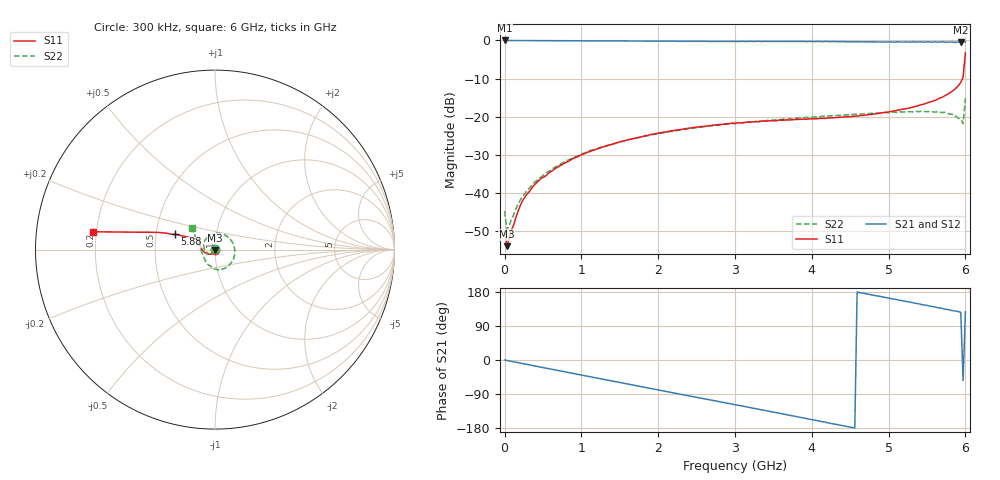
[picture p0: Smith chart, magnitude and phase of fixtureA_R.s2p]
# Hz S RI R 50
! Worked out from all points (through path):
!   201 points, 300 kHz to 6 GHz, reference 50 ohm
!   highest |S21| = 0.01 dB at 300 kHz (marker M1); lowest = -0.5 dB at 5.94 GHz (marker M2)
!   lowest |S11| = -53.9 dB at 30.3 MHz (marker M3), VSWR 1.00, Z = 50.1 - j0.14 ohm
!   |S11| at or under -10 dB: start of sweep to 5.961 GHz
!   |S22| runs from -49.6 to -15.2 dB; largest |S21 - S12| = 4.7e-16
!   S11 on the Smith chart (normalised r, x): 300 kHz: 1.01, -0.00; 5.88 GHz: 0.62, +0.11; 6 GHz: 0.19, +0.07
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300000  0.00267 -0.00164  1.001 -0.000561  1.001 -0.000561  -0.00254 0.00525
3.02985e7  0.00147 -0.00139  0.9994 -0.0217  0.9994 -0.0217  0.00329 -0.00044
9.02955e7  0.00143 -0.00297  0.9969 -0.0637  0.9969 -0.0637  0.00308 -0.00337
2.102895e8  9.16e-05 -0.00712  0.987 -0.147  0.987 -0.147  0.00165 -0.00821
2.702865e8  -0.000311 -0.00912  0.9792 -0.1875  0.9792 -0.1875  0.00051 -0.0101
3.902805e8  -0.00218 -0.0128  0.9594 -0.268  0.9594 -0.268  -0.00219 -0.0137
6.60267e8  -0.00838 -0.0193  0.8907 -0.4396  0.8907 -0.4396  -0.00951 -0.0199
1.020249e9  -0.0205 -0.025  0.7529 -0.6423  0.7529 -0.6423  -0.023 -0.0238
1.500225e9  -0.0402 -0.0245  0.5027 -0.8496  0.5027 -0.8496  -0.0434 -0.0175
2.0102e9  -0.0596 -0.0142  0.1796 -0.9643  0.1796 -0.9643  -0.0607 0.00459
2.490176e9  -0.0731 0.00136  -0.1381 -0.9661  -0.1381 -0.9661  -0.0614 0.0371
3.00015e9  -0.0799 0.0198  -0.4565 -0.863  -0.4565 -0.863  -0.0383 0.0714
3.60012e9  -0.0823 0.0379  -0.7633 -0.6069  -0.7633 -0.6069  0.0172 0.0905
4.020099e9  -0.0822 0.046  -0.8995 -0.3578  -0.8995 -0.3578  0.0644 0.0762
4.500075e9  -0.0871 0.0514  -0.963 -0.0482  -0.963 -0.0482  0.1032 0.0278
5.01005e9  -0.1015 0.0563  -0.9184 0.2786  -0.9184 0.2786  0.105 -0.0422
5.61002e9  -0.1501 0.0683  -0.7299 0.6258  -0.7299 0.6258  0.0432 -0.1069
5.730014e9  -0.1729 0.0754  -0.6653 0.682  -0.6653 0.682  0.0206 -0.1132
5.880006e9  -0.225 0.0849  -0.5985 0.7347  -0.5985 0.7347  -0.0179 -0.0992
5.940003e9  -0.2683 0.0912  -0.5516 0.7635  -0.5516 0.7635  -0.0377 -0.0852
5.970002e9  -0.3173 0.096  0.5507 -0.7661  0.5507 -0.7661  -0.0546 -0.0604
6e9  -0.6806 0.0993  -0.5792 0.7698  -0.5792 0.7698  -0.1284 0.1181
